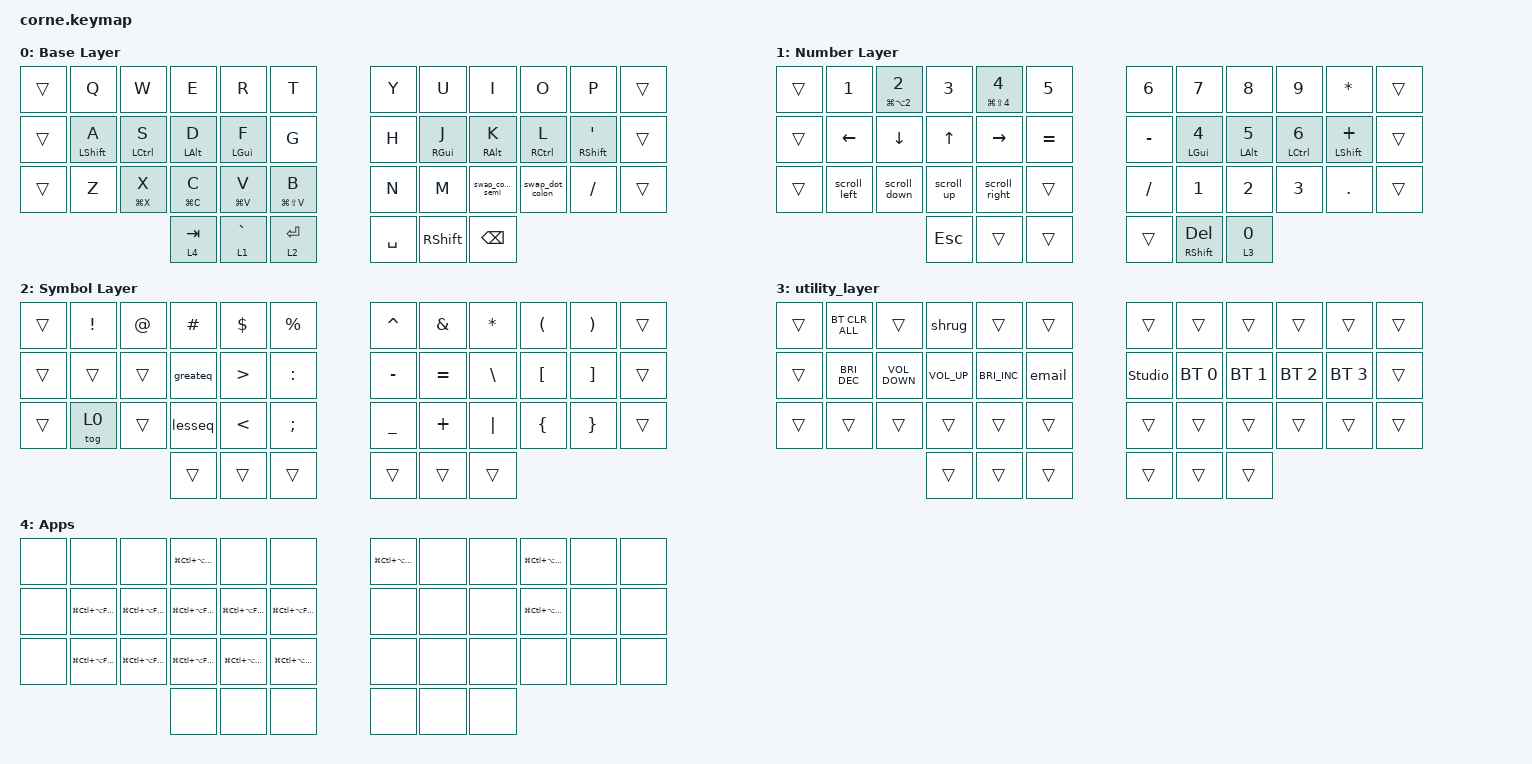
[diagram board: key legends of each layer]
/*
 * Copyright (c) 2020 The ZMK Contributors
 *
 * SPDX-License-Identifier: MIT
 */

#include <behaviors.dtsi>
#include <dt-bindings/zmk/bt.h>
#include <dt-bindings/zmk/keys.h>

/ {
    macros {
        copy: copy {
            compatible = "zmk,behavior-macro";
            #binding-cells = <0>;
            bindings = <&macro_press>, <&kp C>;

            label = "COPY";
        };

        email: email {
            compatible = "zmk,behavior-macro";
            #binding-cells = <0>;
            bindings = <&kp J &kp J &kp M &kp B &kp L &kp A &kp N &kp C &kp H &kp A &kp R &kp D &kp AT &kp G &kp M &kp A &kp I &kp L &kp DOT &kp C &kp O &kp M>;
            label = "EMAIL";
        };

        shrug: shrug {
            compatible = "zmk,behavior-macro";
            #binding-cells = <0>;
            wait-ms = <20>;
            tap-ms = <20>;
            bindings =
                <&macro_press &kp LALT>,
                <&macro_tap &kp N0 &kp N0 &kp A &kp F>,
                <&macro_release &kp LALT>,
                <&macro_tap &kp BSLH &kp UNDER &kp LPAR>,
                <&macro_press &kp LALT>,
                <&macro_tap &kp N3 &kp N0 &kp C &kp N4>,
                <&macro_release &kp LALT>,
                <&macro_tap &kp RPAR &kp UNDER &kp SLASH>,
                <&macro_press &kp LALT>,
                <&macro_tap &kp N0 &kp N0 &kp A &kp F>,
                <&macro_release &kp LALT>;

            label = "SHRUG";
        };

        greateq: greateq {
            compatible = "zmk,behavior-macro";
            #binding-cells = <0>;
            bindings = <&macro_press &kp LALT &macro_tap &kp DOT &macro_release &kp LALT>;
            label = "GREATEQ";
        };

        lesseq: lesseq {
            compatible = "zmk,behavior-macro";
            #binding-cells = <0>;
            bindings = <&macro_press &kp LALT &macro_tap &kp COMMA &macro_release &kp LALT>;
            label = "LESSEQ";
        };

        scroll_left: scroll_left {
            compatible = "zmk,behavior-macro";
            #binding-cells = <0>;
            bindings =
                <&macro_press>,
                <&kp LCTRL &kp LGUI &kp LALT &kp LEFT>,
                <&macro_pause_for_release>,
                <&macro_release>,
                <&kp LCTRL &kp LGUI &kp LALT &kp LEFT>;

            label = "SCROLL_LEFT";
        };

        scroll_down: scroll_down {
            compatible = "zmk,behavior-macro";
            #binding-cells = <0>;
            bindings =
                <&macro_press>,
                <&kp LCTRL &kp LGUI &kp LALT &kp DOWN>,
                <&macro_pause_for_release>,
                <&macro_release>,
                <&kp LCTRL &kp LGUI &kp LALT &kp DOWN>;

            label = "SCROLL_DOWN";
        };

        scroll_up: scroll_up {
            compatible = "zmk,behavior-macro";
            #binding-cells = <0>;
            bindings =
                <&macro_press>,
                <&kp LCTRL &kp LGUI &kp LALT &kp UP>,
                <&macro_pause_for_release>,
                <&macro_release>,
                <&kp LCTRL &kp LGUI &kp LALT &kp UP>;

            label = "SCROLL_UP";
        };

        scroll_right: scroll_right {
            compatible = "zmk,behavior-macro";
            #binding-cells = <0>;
            bindings =
                <&macro_press>,
                <&kp LCTRL &kp LGUI &kp LALT &kp RIGHT>,
                <&macro_pause_for_release>,
                <&macro_release>,
                <&kp LCTRL &kp LGUI &kp LALT &kp RIGHT>;

            label = "SCROLL_RIGHT";
        };
    };

    behaviors {
        hml: home_row_mod_left {
            compatible = "zmk,behavior-hold-tap";
            label = "HOME_ROW_MOD_LEFT";
            #binding-cells = <2>;
            flavor = "balanced";
            require-prior-idle-ms = <150>;
            tapping-term-ms = <280>;
            quick-tap-ms = <175>;
            bindings = <&kp>, <&kp>;

            // Right side keys (Corne 3x6+3: keys 21-41)

            hold-trigger-key-positions = <21 22 23 24 25 26 27 28 29 30 31 32 33 34 35 36 37 38 39 40 41>;
            hold-trigger-on-release;
        };

        hmr: home_row_mod_right {
            compatible = "zmk,behavior-hold-tap";
            label = "HOME_ROW_MOD_RIGHT";
            #binding-cells = <2>;
            flavor = "balanced";
            require-prior-idle-ms = <150>;
            tapping-term-ms = <280>;
            quick-tap-ms = <175>;
            bindings = <&kp>, <&kp>;

            // Left side keys (Corne 3x6+3: keys 0-20)

            hold-trigger-key-positions = <0 1 2 3 4 5 6 7 8 9 10 11 12 13 14 15 16 17 18 19 20>;
            hold-trigger-on-release;
        };

        tab_app: tab_app {
            compatible = "zmk,behavior-hold-tap";
            label = "TAB_APP_LAYER";
            #binding-cells = <2>;
            flavor = "tap-preferred";
            tapping-term-ms = <175>;
            quick-tap-ms = <150>;
            bindings = <&mo>, <&kp>;
        };

        swap_colon_semi: swap_colon_semi {
            compatible = "zmk,behavior-mod-morph";
            label = "SWAP_COLON_SEMI";
            #binding-cells = <0>;
            bindings = <&kp COLON>, <&kp SEMI>;

            mods = <(MOD_LSFT|MOD_RSFT)>;
        };

        swap_sqt_lpar: swap_sqt_lpar {
            compatible = "zmk,behavior-mod-morph";
            label = "SWAP_SQT_LPAR";
            #binding-cells = <0>;
            bindings = <&kp SQT>, <&kp LPAR>;

            mods = <(MOD_LSFT|MOD_RSFT)>;
        };

        swap_dqt_rpar: swap_dqt_rpar {
            compatible = "zmk,behavior-mod-morph";
            label = "SWAP_DQT_RPAR";
            #binding-cells = <0>;
            bindings = <&kp DQT>, <&kp RPAR>;

            mods = <(MOD_LSFT|MOD_RSFT)>;
        };

        swap_comma_semi: swap_comma_semi {
            compatible = "zmk,behavior-mod-morph";
            label = "SWAP_COMMA_SEMI";
            #binding-cells = <0>;
            bindings = <&kp COMMA>, <&kp SEMI>;

            mods = <(MOD_LSFT|MOD_RSFT)>;
        };

        swap_dot_colon: swap_dot_colon {
            compatible = "zmk,behavior-mod-morph";
            label = "SWAP_DOT_COLON";
            #binding-cells = <0>;
            bindings = <&kp DOT>, <&kp COLON>;

            mods = <(MOD_LSFT|MOD_RSFT)>;
        };

        tkr: thumb_key_mod_right {
            compatible = "zmk,behavior-hold-tap";
            label = "THUMB_KEY_MOD_RIGHT";
            #binding-cells = <2>;
            flavor = "tap-preferred";
            tapping-term-ms = <175>;
            quick-tap-ms = <175>;
            require-prior-idle-ms = <50>;
            bindings = <&kp>, <&kp>;
        };

        tkl: thumb_key_mod_left {
            compatible = "zmk,behavior-hold-tap";
            label = "THUMB_KEY_MOD_LEFT";
            #binding-cells = <2>;
            flavor = "tap-preferred";
            tapping-term-ms = <175>;
            quick-tap-ms = <175>;
            require-prior-idle-ms = <75>;
            bindings = <&kp>, <&kp>;
        };
    };

    keymap {
        compatible = "zmk,keymap";

        base_layer {
            display-name = "Base Layer";

            // -----------------------------------------------------------------------------------------
            // |  TAB |  Q  |  W  |  E  |  R  |  T  |   |  Y  |  U   |  I  |  O  |  P  | BSPC |
            // | CTRL |  A  |  S  |  D  |  F  |  G  |   |  H  |  J   |  K  |  L  |  ;  |  '   |
            // | SHFT |  Z  |  X  |  C  |  V  |  B  |   |  N  |  M   |  ,  |  .  |  /  | ESC  |
            //                    | GUI | LWR | SPC |   | ENT | RSE  | ALT |

            bindings = <
&trans  &kp Q         &kp W         &kp E             &kp R         &kp T               &kp Y      &kp U        &kp I             &kp O            &kp P              &trans
&trans  &hml LSHFT A  &hml LCTRL S  &hml LALT D       &hml LGUI F   &kp G               &kp H      &hmr RGUI J  &hmr RALT K       &hmr RCTRL L     &hmr RSHFT SQT     &trans
&trans  &kp Z         &hml LG(X) X  &hml LG(C) C      &hml LG(V) V  &hml LG(LS(V)) B    &kp N      &kp M        &swap_comma_semi  &swap_dot_colon  &kp SLASH          &trans
                                    &tab_app 4 TAB  &lt 1 GRAVE   &lt 2 ENTER         &kp SPACE  &kp RSHIFT   &kp BACKSPACE
            >;
        };

        number_layer {
            display-name = "Number Layer";

            // -----------------------------------------------------------------------------------------
            // |  TAB |  1  |  2  |  3  |  4  |  5  |   |  6  |  7  |  8  |  9  |  0  | BSPC |
            // | BTCLR| LFT | DWN |  UP | RGT |  =  |   |  -  |  4  |  5  |  6  |  +  |  *   |
            // | SHFT | SCL | SCD | SCU | SCR |     |   |  =  |  1  |  2  |  3  |  .  |  /   |
            //                    | GUI |     | SPC |   | ENT |     | ALT |

            bindings = <
&trans  &kp N1        &hml LG(LA(N2)) N2  &kp N3      &hml LG(LS(N4)) N4  &kp N5       &kp N6     &kp N7           &kp N8        &kp N9         &kp ASTRK        &trans
&trans  &kp LEFT      &kp DOWN            &kp UP      &kp RIGHT           &kp EQUAL    &kp MINUS  &hmr LGUI N4     &hmr LALT N5  &hmr LCTRL N6  &hmr LSHFT PLUS  &trans
&trans  &scroll_left  &scroll_down        &scroll_up  &scroll_right       &trans       &kp SLASH  &kp N1           &kp N2        &kp N3         &kp PERIOD       &trans
                                          &kp ESC     &trans              &trans       &trans     &tkr RSHIFT DEL  &lt 3 N0
            >;
        };

        symbol_layer {
            display-name = "Symbol Layer";

            // -----------------------------------------------------------------------------------------
            // |  TAB |  !  |  @  |  #  |  $  |  %  |   |  ^  |  &  |  *  |  (  |  )  | BSPC |
            // | CTRL |     |     |     |     |     |   |  -  |  =  |  [  |  ]  |  \  |  `   |
            // | SHFT |     |     |     |     |     |   |  _  |  +  |  {  |  }  | "|" |  ~   |
            //                    | GUI |     | SPC |   | ENT |     | ALT |

            bindings = <
&trans  &kp EXCL  &kp AT  &kp HASH  &kp DLLR          &kp PRCNT    &kp CARET  &kp AMPS   &kp ASTRK  &kp LPAR  &kp RPAR  &trans
&trans  &trans    &trans  &greateq  &kp GREATER_THAN  &kp COLON    &kp MINUS  &kp EQUAL  &kp BSLH   &kp LBKT  &kp RBKT  &trans
&trans  &tog 0    &trans  &lesseq   &kp LESS_THAN     &kp SEMI     &kp UNDER  &kp PLUS   &kp PIPE   &kp LBRC  &kp RBRC  &trans
                          &trans    &trans            &trans       &trans     &trans     &trans
            >;
        };

        utility_layer {
            bindings = <
&trans  &bt BT_CLR_ALL        &trans             &shrug           &trans                &trans    &trans          &trans        &trans        &trans        &trans        &trans
&trans  &kp C_BRIGHTNESS_DEC  &kp C_VOLUME_DOWN  &kp C_VOLUME_UP  &kp C_BRIGHTNESS_INC  &email    &studio_unlock  &bt BT_SEL 0  &bt BT_SEL 1  &bt BT_SEL 2  &bt BT_SEL 3  &trans
&trans  &trans                &trans             &trans           &trans                &trans    &trans          &trans        &trans        &trans        &trans        &trans
                                                 &trans           &trans                &trans    &trans          &trans        &trans
            >;
        };

        app_layer {
            display-name = "Apps";

            // Hold Tab and press an app key. The layer emits collision-resistant
            // synthetic shortcuts for Hammerspoon instead of ordinary letters.
            // F13-F20 use unshifted and shifted modifier banks because macOS
            // does not expose F21-F24 as bindable virtual keycodes.
            //
            // |     |     |     | MUTE|     |     |   |VIDEO|     |     | OBS |     |     |
            // |     |  A  |  S  |  D  |  F  |  G  |   |     |     |     |  L  |     |     |
            // |     |  Z  |  X  |  C  |  V  |  B  |   |     |     |     |     |     |     |

            bindings = <
&none  &none                     &none                     &kp LG(LC(LA(LS(F13))))  &none                     &none                     &kp LG(LC(LA(LS(F14))))  &none  &none  &kp LG(LC(LA(LS(F17))))  &none  &none
&none  &kp LG(LC(LA(F13)))       &kp LG(LC(LA(F14)))       &kp LG(LC(LA(F15)))      &kp LG(LC(LA(F16)))       &kp LG(LC(LA(F17)))       &none                      &none  &none  &kp LG(LC(LA(LS(F18))))  &none  &none
&none  &kp LG(LC(LA(F18)))       &kp LG(LC(LA(F19)))       &kp LG(LC(LA(F20)))      &kp LG(LC(LA(LS(F15))))  &kp LG(LC(LA(LS(F16))))  &none                      &none  &none  &none                      &none  &none
                                                                 &none                &none                       &none                       &none                  &none  &none
            >;
        };
    };
};
